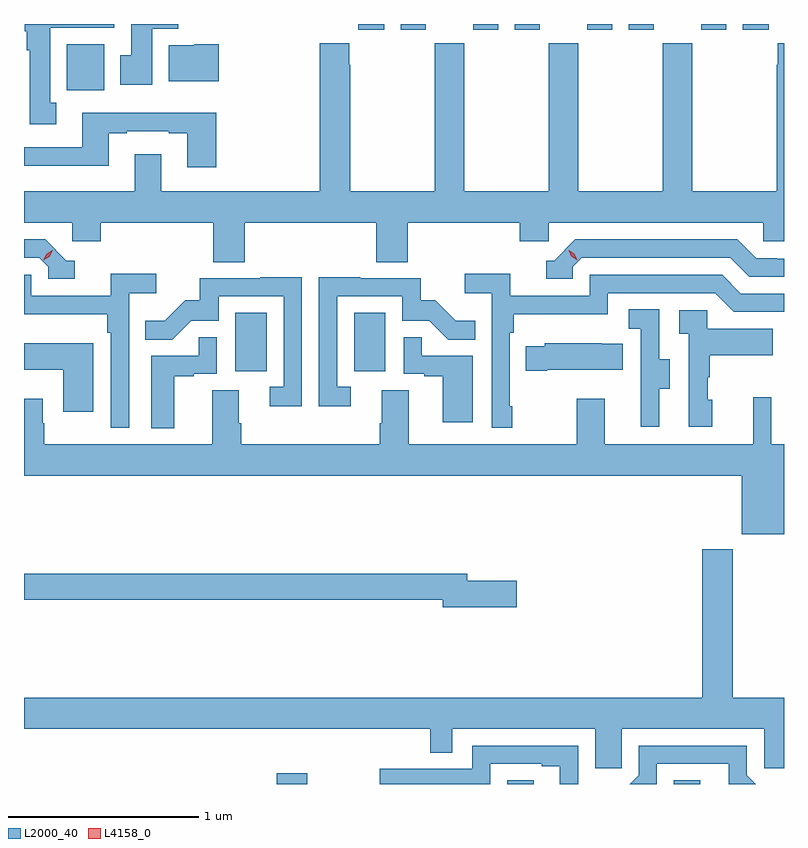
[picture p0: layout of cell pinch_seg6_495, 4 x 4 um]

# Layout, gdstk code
import gdstk
lib = gdstk.Library(unit=1e-6, precision=1e-09)
def R(c, l, rs):  # rectangles x0, y0, x1, y1
    for r in rs: c.add(gdstk.rectangle(r[:2], r[2:], *l))
def P(c, l, *ps):  # polygons
    for p in ps: c.add(gdstk.Polygon(p, *l))
L2000_40 = (2000, 40)
L4158_0 = (4158, 0)

pinch_seg6_495 = lib.new_cell('pinch_seg6_495')
R(pinch_seg6_495, L2000_40, [(855.332,924.401,855.493,924.457), (856.547,924.401,856.687,924.422), (857.423,924.401,857.563,924.422), (855.116,926.574,855.28,926.881), (855.74,926.574,855.904,926.881), (854.228,928.052,854.425,928.294), (855.761,928.371,855.898,928.401), (855.986,928.371,856.117,928.401), (856.367,928.371,856.498,928.401), (856.586,928.371,856.717,928.401), (856.967,928.371,857.098,928.401), (857.186,928.371,857.317,928.401), (857.567,928.371,857.698,928.401), (857.786,928.371,857.923,928.401)])
P(pinch_seg6_495, L2000_40, [(854.173,927.986),(854.14,927.986),(854.14,928.382),(854.479,928.382),(854.479,928.401),(854.006,928.401),(854.006,928.362),(854.018,928.362),(854.018,928.262),(854.033,928.262),(854.033,927.873),(854.173,927.873)],
  [(854.677,928.376),(854.816,928.376),(854.816,928.401),(854.567,928.401),(854.567,928.236),(854.51,928.236),(854.51,928.08),(854.677,928.08)],
  [(855.164,927.356),(855.857,927.356),(855.857,927.148),(856.022,927.148),(856.022,927.356),(856.613,927.356),(856.613,927.258),(856.764,927.258),(856.764,927.356),(857.895,927.356),(857.895,927.258),(858.003,927.258),(858.003,928.3),(857.969,928.3),(857.969,928.187),(857.965,928.187),(857.965,927.52),(857.52,927.52),(857.52,928.3),(857.365,928.3),(857.365,927.52),(856.92,927.52),(856.92,928.3),(856.765,928.3),(856.765,927.52),(856.32,927.52),(856.32,928.3),(856.165,928.3),(856.165,927.52),(855.72,927.52),(855.72,928.187),(855.715,928.187),(855.715,928.3),(855.56,928.3),(855.56,927.52),(854.725,927.52),(854.725,927.715),(854.585,927.715),(854.585,927.52),(854.003,927.52),(854.003,927.356),(854.256,927.356),(854.256,927.258),(854.408,927.258),(854.408,927.356),(854.999,927.356),(854.999,927.148),(855.164,927.148)],
  [(855.029,928.294),(854.898,928.294),(854.898,928.288),(854.765,928.288),(854.765,928.1),(855.029,928.1)],
  [(855.014,927.934),(854.309,927.934),(854.309,927.753),(854.003,927.753),(854.003,927.656),(854.449,927.656),(854.449,927.825),(854.545,927.825),(854.545,927.837),(854.765,927.837),(854.765,927.825),(854.861,927.825),(854.861,927.648),(855.014,927.648)],
  [(854.269,927.156),(854.226,927.156),(854.115,927.267),(854.003,927.267),(854.003,927.171),(854.082,927.171),(854.13,927.123),(854.13,927.06),(854.269,927.06)],
  [(856.89,927.123),(856.938,927.171),(857.721,927.171),(857.82,927.072),(858.003,927.072),(858.003,927.165),(857.964,927.165),(857.964,927.168),(857.857,927.168),(857.758,927.267),(856.905,927.267),(856.794,927.156),(856.751,927.156),(856.751,927.06),(856.89,927.06)],
  [(854.556,926.984),(854.698,926.984),(854.698,927.086),(854.459,927.086),(854.459,926.97),(854.04,926.97),(854.04,927.081),(854.003,927.081),(854.003,926.873),(854.44,926.873),(854.44,926.777),(854.46,926.777),(854.46,926.277),(854.556,926.277)],
  [(856.573,926.389),(856.56,926.389),(856.56,926.777),(856.58,926.777),(856.58,926.873),(857.076,926.873),(857.076,926.985),(857.64,926.985),(857.739,926.886),(858.003,926.886),(858.003,926.982),(857.776,926.982),(857.677,927.081),(856.98,927.081),(856.98,926.97),(856.562,926.97),(856.562,927.086),(856.323,927.086),(856.323,926.984),(856.464,926.984),(856.464,926.277),(856.573,926.277)],
  [(855.724,926.493),(855.651,926.493),(855.651,926.967),(855.993,926.967),(855.993,926.838),(856.137,926.838),(856.235,926.74),(856.379,926.74),(856.379,926.839),(856.275,926.839),(856.168,926.946),(856.092,926.946),(856.092,927.063),(855.773,927.063),(855.773,927.068),(855.555,927.068),(855.555,926.388),(855.724,926.388)],
  [(855.465,927.068),(855.247,927.068),(855.247,927.063),(854.929,927.063),(854.929,926.946),(854.852,926.946),(854.745,926.839),(854.641,926.839),(854.641,926.74),(854.784,926.74),(854.882,926.838),(855.027,926.838),(855.027,926.967),(855.369,926.967),(855.369,926.493),(855.297,926.493),(855.297,926.388),(855.465,926.388)],
  [(857.347,926.482),(857.401,926.482),(857.401,926.637),(857.346,926.637),(857.346,926.9),(857.187,926.9),(857.187,926.797),(857.25,926.797),(857.25,926.493),(857.249,926.493),(857.249,926.28),(857.347,926.28)],
  [(857.626,926.424),(857.601,926.424),(857.601,926.543),(857.611,926.543),(857.611,926.657),(857.945,926.657),(857.945,926.797),(857.598,926.797),(857.598,926.895),(857.451,926.895),(857.451,926.771),(857.502,926.771),(857.502,926.28),(857.626,926.28)],
  [(856.366,926.655),(856.097,926.655),(856.097,926.753),(856.002,926.753),(856.002,926.559),(856.109,926.559),(856.109,926.547),(856.208,926.547),(856.208,926.304),(856.366,926.304)],
  [(854.794,926.547),(854.897,926.547),(854.897,926.559),(855.018,926.559),(855.018,926.753),(854.923,926.753),(854.923,926.655),(854.672,926.655),(854.672,926.273),(854.794,926.273)],
  [(854.368,926.722),(854.003,926.722),(854.003,926.582),(854.21,926.582),(854.21,926.361),(854.368,926.361)],
  [(856.756,926.582),(857.153,926.582),(857.153,926.719),(857.045,926.719),(857.045,926.722),(856.743,926.722),(856.743,926.704),(856.645,926.704),(856.645,926.575),(856.756,926.575)],
  [(858.003,926.188),(857.937,926.188),(857.937,926.437),(857.84,926.437),(857.84,926.188),(857.059,926.188),(857.059,926.428),(856.912,926.428),(856.912,926.188),(856.027,926.188),(856.027,926.474),(855.887,926.474),(855.887,926.3),(855.875,926.3),(855.875,926.188),(855.146,926.188),(855.146,926.3),(855.133,926.3),(855.133,926.474),(854.993,926.474),(854.993,926.188),(854.109,926.188),(854.109,926.3),(854.101,926.3),(854.101,926.428),(854.003,926.428),(854.003,926.024),(857.78,926.024),(857.78,925.715),(858.003,925.715)],
  [(857.148,924.692),(857.898,924.692),(857.898,924.484),(858.003,924.484),(858.003,924.856),(857.733,924.856),(857.733,925.636),(857.573,925.636),(857.573,924.856),(854.003,924.856),(854.003,924.692),(856.141,924.692),(856.141,924.565),(856.257,924.565),(856.257,924.692),(857.009,924.692),(857.009,924.484),(857.148,924.484)],
  [(856.597,925.472),(856.336,925.472),(856.336,925.508),(854.003,925.508),(854.003,925.372),(856.208,925.372),(856.208,925.33),(856.597,925.33)],
  [(857.334,924.507),(857.711,924.507),(857.711,924.401),(857.854,924.401),(857.808,924.447),(857.808,924.603),(857.238,924.603),(857.238,924.447),(857.192,924.401),(857.334,924.401)],
  [(856.458,924.507),(856.727,924.507),(856.727,924.495),(856.823,924.495),(856.823,924.401),(856.92,924.401),(856.92,924.603),(856.362,924.603),(856.362,924.48),(855.876,924.48),(855.876,924.401),(856.458,924.401)])
P(pinch_seg6_495, L4158_0, [(854.104,927.158),(854.104,927.158),(854.121,927.19),(854.152,927.21),(854.153,927.21),(854.153,927.21),(854.136,927.177),(854.105,927.158)],
  [(856.915,927.158),(856.884,927.178),(856.869,927.21),(856.869,927.211),(856.869,927.211),(856.899,927.191),(856.915,927.159),(856.915,927.158)])

lib.write_gds('pinch_seg6_495.gds')
